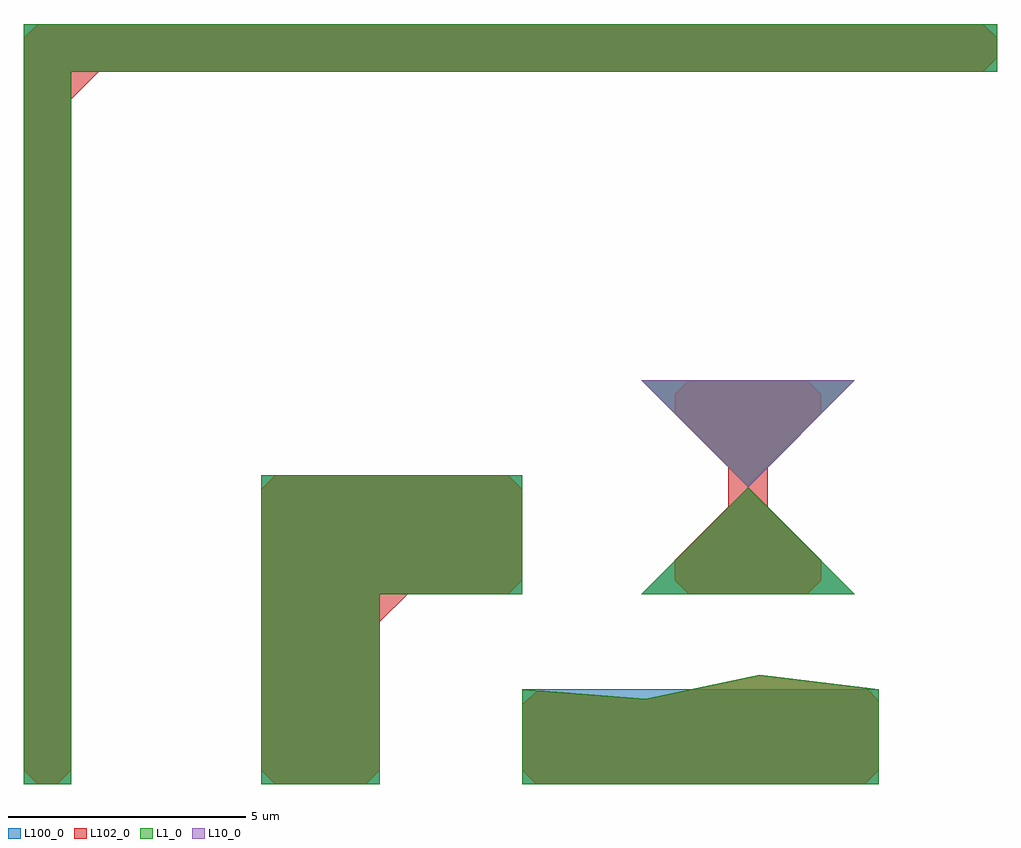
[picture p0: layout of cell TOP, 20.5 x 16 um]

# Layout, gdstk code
import gdstk
lib = gdstk.Library(unit=1e-6, precision=1e-09)
def R(c, l, rs):  # rectangles x0, y0, x1, y1
    for r in rs: c.add(gdstk.rectangle(r[:2], r[2:], *l))
def P(c, l, *ps):  # polygons
    for p in ps: c.add(gdstk.Polygon(p, *l))
L1_0 = (1, 0)
L10_0 = (10, 0)
L100_0 = (100, 0)
L102_0 = (102, 0)

top = lib.new_cell('TOP')
R(top, L1_0, [(-6.5,1,-4,7.5), (-6.5,5,-1,7.5)])
P(top, L1_0, [(1.5,5),(6,9.5),(1.5,9.5),(6,5)],
  [(-1,1),(-1,3),(1.6,2.8),(4,3.3),(6.5,3),(6.5,1)],
  [(-11.5,1),(-11.5,17),(9,17),(9,16),(-10.5,16),(-10.5,1)])
P(top, L10_0, [(3.75,7.25),(1.5,9.5),(6,9.5)])
R(top, L100_0, [(-1,1,6.5,3)])
P(top, L100_0, [(-6.5,1),(-6.5,7.5),(-1,7.5),(-1,5),(-4,5),(-4,1)],
  [(1.5,5),(3.75,7.25),(1.5,9.5),(6,9.5),(3.75,7.25),(6,5)],
  [(-11.5,1),(-11.5,17),(9,17),(9,16),(-10.5,16),(-10.5,1)])
P(top, L102_0, [(-0.707,1),(-1,1.293),(-1,2.679),(-0.679,2.975),(1.6,2.8),(4,3.3),(6.248,3.03),(6.5,2.746),(6.5,1.293),(6.207,1)],
  [(-6.207,1),(-6.5,1.293),(-6.5,7.207),(-6.207,7.5),(-1.293,7.5),(-1,7.207),(-1,5.293),(-1.293,5),(-3.414,5),(-4,4.414),(-4,1.293),(-4.293,1)],
  [(2.5,5),(2.207,5.293),(2.207,5.707),(3.336,6.836),(3.336,7.664),(2.207,8.793),(2.207,9.207),(2.5,9.5),(5,9.5),(5.293,9.207),(5.293,8.793),(4.164,7.664),(4.164,6.836),(5.293,5.707),(5.293,5.293),(5,5)],
  [(-11.207,1),(-11.5,1.293),(-11.5,16.707),(-11.207,17),(8.707,17),(9,16.707),(9,16.293),(8.707,16),(-9.914,16),(-10.5,15.414),(-10.5,1.293),(-10.793,1)])

lib.write_gds('TOP.gds')
